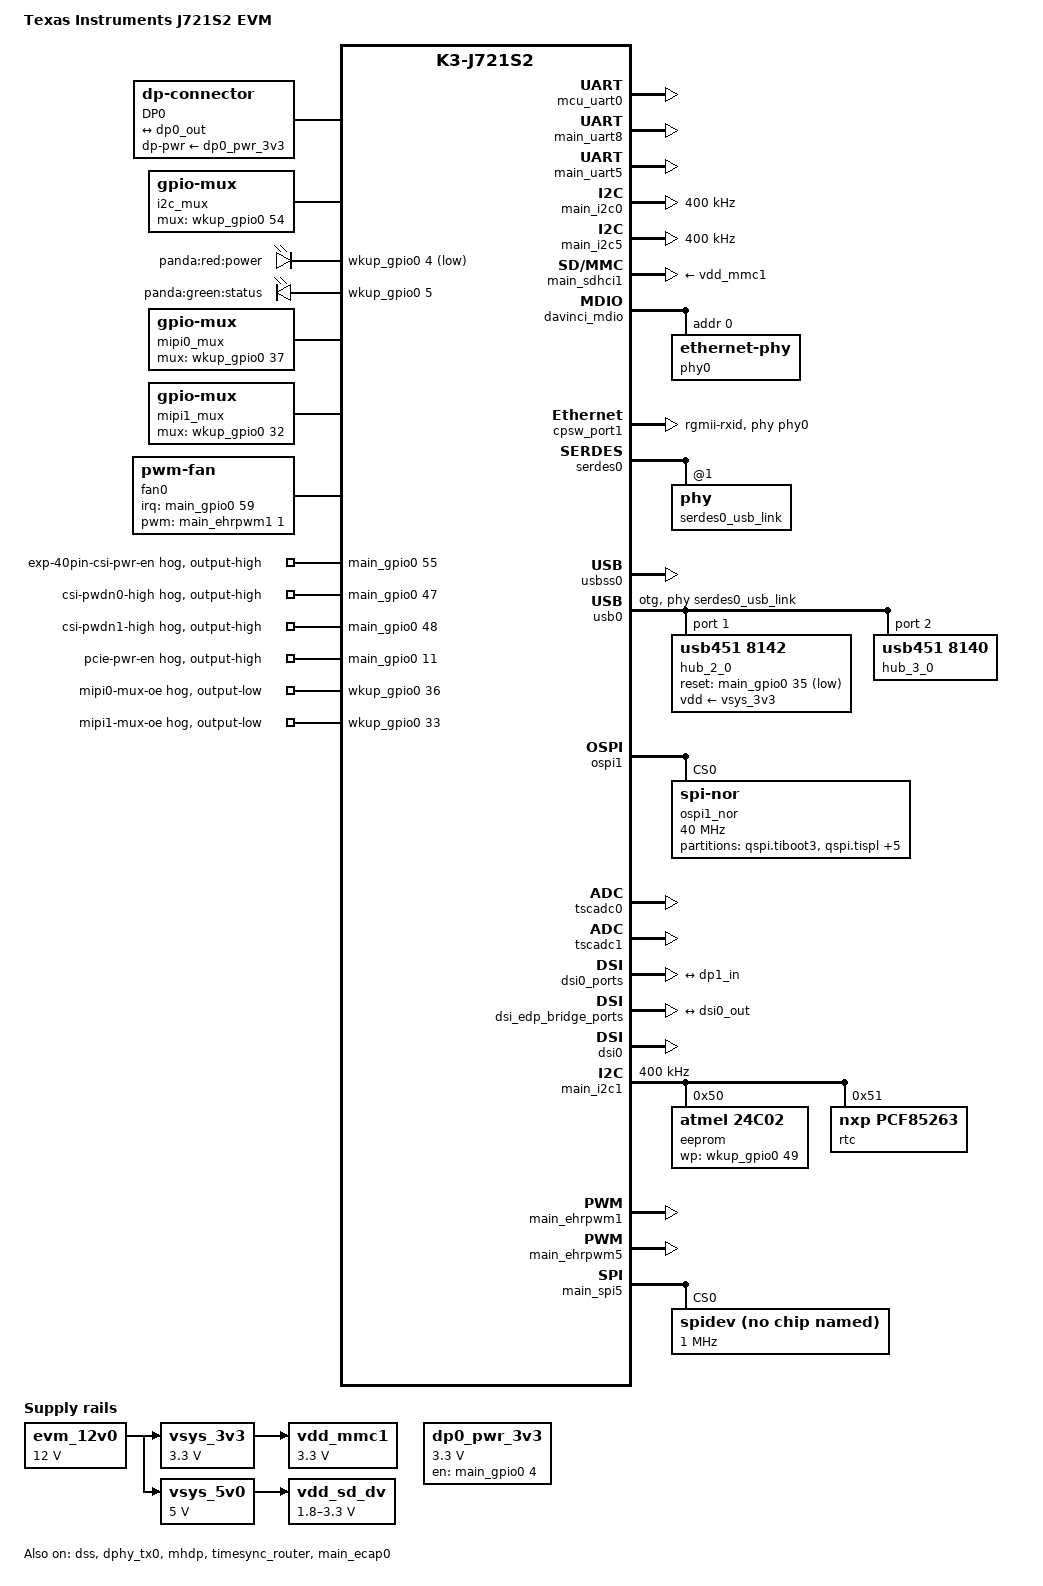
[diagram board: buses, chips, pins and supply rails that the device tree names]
// SPDX-License-Identifier: GPL-2.0-only OR MIT
/*
 * Copyright (C) 2021-2024 Texas Instruments Incorporated - https://www.ti.com/
 *
 * Common Processor Board: https://www.ti.com/tool/J721EXCPXEVM
 */

/dts-v1/;

#include "k3-j721s2-som-p0.dtsi"
#include <dt-bindings/net/ti-dp83867.h>
#include <dt-bindings/phy/phy-cadence.h>
#include <dt-bindings/phy/phy.h>

#include "k3-serdes.h"
#include "k3-timesync-router.h"
#include <dt-bindings/interrupt-controller/irq.h>

/ {
	compatible = "ti,j721s2-evm", "ti,j721s2";
	model = "Texas Instruments J721S2 EVM";

	chosen {
		stdout-path = "serial2:115200n8";
	};

	aliases {
		serial1 = &mcu_uart0;
		serial2 = &main_uart8;
		mmc0 = &main_sdhci0;
		mmc1 = &main_sdhci1;
		can0 = &main_mcan16;
		can1 = &mcu_mcan0;
		can2 = &mcu_mcan1;
		can3 = &main_mcan3;
		can4 = &main_mcan5;
	};

	evm_12v0: fixedregulator-evm12v0 {
		/* main supply */
		compatible = "regulator-fixed";
		regulator-name = "evm_12v0";
		regulator-min-microvolt = <12000000>;
		regulator-max-microvolt = <12000000>;
		regulator-always-on;
		regulator-boot-on;
	};

	vsys_3v3: fixedregulator-vsys3v3 {
		/* Output of LM5140 */
		compatible = "regulator-fixed";
		regulator-name = "vsys_3v3";
		regulator-min-microvolt = <3300000>;
		regulator-max-microvolt = <3300000>;
		vin-supply = <&evm_12v0>;
		regulator-always-on;
		regulator-boot-on;
	};

	vsys_5v0: fixedregulator-vsys5v0 {
		/* Output of LM5140 */
		compatible = "regulator-fixed";
		regulator-name = "vsys_5v0";
		regulator-min-microvolt = <5000000>;
		regulator-max-microvolt = <5000000>;
		vin-supply = <&evm_12v0>;
		regulator-always-on;
		regulator-boot-on;
	};

	vdd_mmc1: fixedregulator-sd {
		/* Output of TPS22918 */
		compatible = "regulator-fixed";
		regulator-name = "vdd_mmc1";
		regulator-min-microvolt = <3300000>;
		regulator-max-microvolt = <3300000>;
		regulator-boot-on;
		enable-active-high;
		vin-supply = <&vsys_3v3>;

#if 0 //wucl debug 
		gpio = <&exp2 2 GPIO_ACTIVE_HIGH>;
#endif
	};

	vdd_sd_dv: gpio-regulator-TLV71033 {
		/* Output of TLV71033 */
		compatible = "regulator-gpio";
		regulator-name = "tlv71033";
		pinctrl-names = "default";
		pinctrl-0 = <&vdd_sd_dv_pins_default>;
		regulator-min-microvolt = <1800000>;
		regulator-max-microvolt = <3300000>;
		regulator-boot-on;
		vin-supply = <&vsys_5v0>;
		gpios = <&main_gpio0 8 GPIO_ACTIVE_HIGH>;
		states = <1800000 0x0>,
			 <3300000 0x1>;
	};

#if 0 //wucl debug 
	dp1_pwr_3v3: regulator-dp1-prw {
		compatible = "regulator-fixed";
		regulator-name = "dp1-pwr";
		regulator-min-microvolt = <3300000>;
		regulator-max-microvolt = <3300000>;
		gpio = <&exp4 1 GPIO_ACTIVE_HIGH>; /* P1 - DP1_PWR_SW_EN */
		enable-active-high;
		regulator-always-on;
	};

	dp1: connector-dp1 {
		compatible = "dp-connector";
		label = "DP1";
		type = "full-size";
		dp-pwr-supply = <&dp1_pwr_3v3>;

		port {
			dp1_connector_in: endpoint {
				remote-endpoint = <&dp1_out>;
			};
		};
	};

	transceiver1: can-phy1 {
		compatible = "ti,tcan1043";
		#phy-cells = <0>;
		max-bitrate = <5000000>;
		pinctrl-names = "default";
		pinctrl-0 = <&mcu_mcan0_gpio_pins_default>;
		standby-gpios = <&wkup_gpio0 69 GPIO_ACTIVE_LOW>;
		enable-gpios = <&wkup_gpio0 0 GPIO_ACTIVE_HIGH>;
	};

	transceiver2: can-phy2 {
		compatible = "ti,tcan1042";
		#phy-cells = <0>;
		max-bitrate = <5000000>;
		pinctrl-names = "default";
		pinctrl-0 = <&mcu_mcan1_gpio_pins_default>;
		standby-gpios = <&wkup_gpio0 2 GPIO_ACTIVE_HIGH>;
	};

	transceiver3: can-phy3 {
		compatible = "ti,tcan1043";
		#phy-cells = <0>;
		max-bitrate = <5000000>;
		standby-gpios = <&exp2 7 GPIO_ACTIVE_LOW>;
		enable-gpios = <&exp2 6 GPIO_ACTIVE_HIGH>;
		mux-states = <&mux0 1>;
	};

	transceiver4: can-phy4 {
		compatible = "ti,tcan1042";
		#phy-cells = <0>;
		max-bitrate = <5000000>;
		standby-gpios = <&exp_som 7 GPIO_ACTIVE_HIGH>;
		mux-states = <&mux1 1>;
	};
#endif

	dp0_pwr_3v3: fixedregulator-dp0-prw {
		compatible = "regulator-fixed";
		regulator-name = "dp0-pwr";
		regulator-min-microvolt = <3300000>;
		regulator-max-microvolt = <3300000>;
#if 0 //wucl debug 
		gpio = <&exp4 0 0>;	/* P0 - DP0_PWR_SW_EN */
#else
		gpio = <&main_gpio0 4 GPIO_ACTIVE_HIGH>; /* (AF28) DP0_PWR_SW_EN */
#endif
		enable-active-high;
	};

	dp0: dp0-connector {
		compatible = "dp-connector";
		label = "DP0";
		type = "full-size";
		dp-pwr-supply = <&dp0_pwr_3v3>;

		port {
			dp0_connector_in: endpoint {
				remote-endpoint = <&dp0_out>;
			};
		};
	};


#if 0 //wucl debug
	codec_audio: sound {
		compatible = "ti,j7200-cpb-audio";
		model = "j721e-cpb";

		ti,cpb-mcasp = <&mcasp4>;
		ti,cpb-codec = <&pcm3168a_1>;

		clocks = <&k3_clks 213 0>, <&k3_clks 213 1>,
			 <&k3_clks 157 299>, <&k3_clks 157 328>;
		clock-names = "cpb-mcasp-auxclk", "cpb-mcasp-auxclk-48000",
			      "cpb-codec-scki", "cpb-codec-scki-48000";
	};
#endif

	i2c_mux: mux-controller-2 {
		compatible = "gpio-mux";
		#mux-state-cells = <1>;
		mux-gpios = <&wkup_gpio0 54 GPIO_ACTIVE_HIGH>;
		idle-state = <1>;
		pinctrl-names = "default";
		pinctrl-0 = <&main_i2c3_mux_pins_default>;
	};

	/*
	 * Camera MCLK reference for Sony IMX219 on J24/J25 FPC.
	 * Physical source: McASP4 ACLKX on AD28 (MREFC(K) net).
	 * AUX_CLK = 196.608 MHz, CLKXDIV = 7 → ACLKX = 24.576 MHz.
	 * (Board has no external 24 MHz oscillator; SoC generates MCLK via McASP4.)
	 */
	clk_imx219_fixed: imx219-xclk {
		compatible = "fixed-clock";
		#clock-cells = <0>;
		clock-frequency = <24000000>; /* was 24576000 for McASP4 MCLK; camera has internal crystal */
	};
};

&main_i2c4 {
#if 0 //wucl debug
	status = "okay";
	pinctrl-names = "default";
	pinctrl-0 = <&main_i2c4_pins_default>;
	clock-frequency = <400000>;

	exp4: gpio@20 {
		compatible = "ti,tca6408";
		reg = <0x20>;
		gpio-controller;
		#gpio-cells = <2>;
	};
#else
	status = "disabled"; //wucl debug
#endif
};

&main_pmx0 {
	main_uart8_pins_default: main-uart8-default-pins {
		pinctrl-single,pins = <
#if 0 //wucl debug
			J721S2_IOPAD(0x040, PIN_INPUT, 14) /* (AC28) MCASP0_AXR0.UART8_CTSn */
			J721S2_IOPAD(0x044, PIN_OUTPUT, 14) /* (Y26) MCASP0_AXR1.UART8_RTSn */
#endif
			J721S2_IOPAD(0x0d0, PIN_INPUT, 11) /* (AF26) SPI0_CS1.UART8_RXD */
			J721S2_IOPAD(0x0d4, PIN_OUTPUT, 11) /* (AH27) SPI0_CLK.UART8_TXD */
		>;
		bootph-all;
	};

        //wucl debug
    my_40pin_exp_uart_pins_default: my_40pin_exp_uart-default-pins {
        pinctrl-single,pins = <
            J721S2_IOPAD(0x008, PIN_INPUT, 11) /* (AC24) MCAN12_RX.UART5_RXD */
            J721S2_IOPAD(0x004, PIN_INPUT, 11) /* (W25) MCAN12_TX.UART5_TXD */
        >;
    };

    main_i2c1_pins_default: main-i2c1-pins-default {
        pinctrl-single,pins = <
            J721S2_IOPAD(0x0ac, PIN_INPUT, 13) /* (AC25) MCASP0_AXR15.I2C1_SCL */
            J721S2_IOPAD(0x0b0, PIN_INPUT, 13) /* (AD26) MCASP1_AXR3.I2C1_SDA */
        >;
    };

#if 0 //wucl debug
	main_i2c3_pins_default: main-i2c3-default-pins {
		pinctrl-single,pins = <
			J721S2_IOPAD(0x064, PIN_INPUT_PULLUP, 13) /* (W28) MCAN0_TX.I2C3_SCL */
			J721S2_IOPAD(0x060, PIN_INPUT_PULLUP, 13) /* (AC27) MCASP2_AXR1.I2C3_SDA */
		>;
	};
#endif

    usb_typec_uart1_pins_default: usb_typec_uart1-default-pins {
        pinctrl-single,pins = <
            J721S2_IOPAD(0x05c, PIN_INPUT, 11) /* (AA26) MCASP2_AXR0.UART1_CTSn */
            J721S2_IOPAD(0x060, PIN_INPUT, 11) /* (AC27) MCASP2_AXR1.UART1_RTSn */
            J721S2_IOPAD(0x054, PIN_INPUT, 11) /* (Y27) MCASP2_ACLKX.UART1_RXD */
            J721S2_IOPAD(0x058, PIN_INPUT, 11) /* (AA27) MCASP2_AFSX.UART1_TXD */
        >;
    };

	main_i2c5_pins_default: main-i2c5-default-pins {
		pinctrl-single,pins = <
			J721S2_IOPAD(0x01c, PIN_INPUT, 8) /* (Y24) MCAN15_TX.I2C5_SCL */
			J721S2_IOPAD(0x018, PIN_INPUT, 8) /* (W23) MCAN14_RX.I2C5_SDA */
		>;
	};

	main_mmc1_pins_default: main-mmc1-default-pins {
		pinctrl-single,pins = <
			J721S2_IOPAD(0x104, PIN_INPUT, 0) /* (P23) MMC1_CLK */
			J721S2_IOPAD(0x108, PIN_INPUT, 0) /* (N24) MMC1_CMD */
			J721S2_IOPAD(0x100, PIN_INPUT, 0) /* (###) MMC1_CLKLB */
			J721S2_IOPAD(0x0fc, PIN_INPUT, 0) /* (M23) MMC1_DAT0 */
			J721S2_IOPAD(0x0f8, PIN_INPUT, 0) /* (P24) MMC1_DAT1 */
			J721S2_IOPAD(0x0f4, PIN_INPUT, 0) /* (R24) MMC1_DAT2 */
			J721S2_IOPAD(0x0f0, PIN_INPUT, 0) /* (R22) MMC1_DAT3 */
			J721S2_IOPAD(0x0e8, PIN_INPUT, 8) /* (AE25) TIMER_IO0.MMC1_SDCD */
		>;
		bootph-all;
	};

	vdd_sd_dv_pins_default: vdd-sd-dv-default-pins {
		pinctrl-single,pins = <
			J721S2_IOPAD(0x020, PIN_INPUT, 7) /* (AA23) MCAN15_RX.GPIO0_8 */
		>;
	};

	//wucl debug
	pcie1_rst_pins_default: pcie1-rst-default-pins {
		pinctrl-single,pins = <
			J721S2_IOPAD(0x04c, PIN_OUTPUT, 7) /* (V27) MCASP1_AXR1.GPIO0_19 */
		>;
	};

//wucl debug
  main_gpio0_pins_default: main-gpio0-default-pins {
#if 0
      pinctrl-single,pins = <
          J721S2_IOPAD(0x010, PIN_OUTPUT, 7) /* (AF28) GPIO0_4 - DP0_PWR_SW_EN */
      >;
#endif
        pinctrl-single,pins = <
            J721S2_IOPAD(0x000, PIN_INPUT, 7) /* (AG24) EXTINTn.GPIO0_0 */
            J721S2_IOPAD(0x00c, PIN_INPUT, 7) /* (AE28) MCAN13_TX.GPIO0_3 */
            J721S2_IOPAD(0x010, PIN_OUTPUT, 7) /* (AF28) MCAN13_RX.GPIO0_4 */
            J721S2_IOPAD(0x014, PIN_OUTPUT, 7) /* (AD25) MCAN14_TX.GPIO0_5 */
            J721S2_IOPAD(0x024, PIN_INPUT, 7) /* (Y28) MCAN16_TX.GPIO0_9 */
            J721S2_IOPAD(0x028, PIN_INPUT, 7) /* (AB24) MCAN16_RX.GPIO0_10 */
            J721S2_IOPAD(0x02c, PIN_INPUT, 7) /* (V23) GPIO0_11 - PIN_INPUT for readback (output driven by gpio-hog) */
            J721S2_IOPAD(0x030, PIN_INPUT, 7) /* (T26) GPIO0_12 */
            J721S2_IOPAD(0x034, PIN_INPUT, 7) /* (AD24) PMIC_WAKE0n.GPIO0_13 */
            J721S2_IOPAD(0x048, PIN_INPUT, 7) /* (AB27) MCASP0_AXR2.GPIO0_18 */
            J721S2_IOPAD(0x04c, PIN_INPUT, 7) /* (V27) MCASP1_AXR1.GPIO0_19 - PIN_INPUT for readback (output driven by reset-gpios) */
            J721S2_IOPAD(0x050, PIN_INPUT, 7) /* (W27) MCASP1_AXR2.GPIO0_20 */
            J721S2_IOPAD(0x06c, PIN_INPUT, 7) /* (V26) MCAN1_TX.GPIO0_27 */
            J721S2_IOPAD(0x084, PIN_INPUT, 7) /* (AA28) MCASP0_AXR5.GPIO0_33 */
            J721S2_IOPAD(0x08c, PIN_OUTPUT, 7) /* (T25) MCASP0_AXR7.GPIO0_35 */
            J721S2_IOPAD(0x094, PIN_INPUT, 7) /* (AA25) MCASP0_AXR9.GPIO0_37 */
            J721S2_IOPAD(0x098, PIN_INPUT, 7) /* (V25) MCASP0_AXR10.GPIO0_38 */
            J721S2_IOPAD(0x0a0, PIN_INPUT, 7) /* (AB25) MCASP0_AXR12.GPIO0_40 */
            J721S2_IOPAD(0x0bc, PIN_INPUT, 7) /* (V28) MCASP1_AFSX.GPIO0_47 */
            J721S2_IOPAD(0x0c0, PIN_INPUT, 7) /* (T28) MCASP1_AXR0.GPIO0_48 */
            J721S2_IOPAD(0x0cc, PIN_INPUT, 7) /* (AE27) SPI0_CS0.GPIO0_51 */
            J721S2_IOPAD(0x0d8, PIN_OUTPUT, 7) /* (AG26) SPI0_D0.GPIO0_54 */
            J721S2_IOPAD(0x0dc, PIN_INPUT, 7) /* (AH26) SPI0_D1.GPIO0_55 */
        >;
  };

	main_usbss0_pins_default: main-usbss0-default-pins {
		pinctrl-single,pins = <
#if 0 //wucl debug
			J721S2_IOPAD(0x0ec, PIN_OUTPUT, 6) /* (AG25) TIMER_IO1.USB0_DRVVBUS */
#endif
		>;
		bootph-all;
	};

    fan_tach_pins_default: fan_tach-default-pins {
        pinctrl-single,pins = <
            J721S2_IOPAD(0x0ec, PIN_INPUT, 7) /* (AG25) GPIO0_59 - FAN TACH */
        >;
    };

    myehrpwm1_pins_default: myehrpwm1-default-pins {
        pinctrl-single,pins = <
            J721S2_IOPAD(0x074, PIN_OUTPUT, 9) /* (R28) MCAN2_TX.EHRPWM1_B */
        >;
    };

#if 0 //wucl debug
	main_mcan3_pins_default: main-mcan3-default-pins {
		pinctrl-single,pins = <
			J721S2_IOPAD(0x080, PIN_INPUT, 0) /* (U26) MCASP0_AXR4.MCAN3_RX */
			J721S2_IOPAD(0x07c, PIN_OUTPUT, 0) /* (T27) MCASP0_AXR3.MCAN3_TX */
		>;
	};
#else
    myehrpwm5_pins_default: myehrpwm5-default-pins {
        pinctrl-single,pins = <
            J721S2_IOPAD(0x080, PIN_INPUT, 9) /* (U26) MCASP0_AXR4.EHRPWM5_B */
        >;
    };

#endif

#if 0 //wucl debug
	main_mcan5_pins_default: main-mcan5-default-pins {
		pinctrl-single,pins = <
			J721S2_IOPAD(0x03c, PIN_INPUT, 0) /* (U27) MCASP0_AFSX.MCAN5_RX */
			J721S2_IOPAD(0x038, PIN_OUTPUT, 0) /* (AB28) MCASP0_ACLKX.MCAN5_TX */
		>;
	};
#endif

	/* MCASP0 pin assignments on 40-pin header: fixed by board routing */
	mcasp0_pins_default: mcasp0-default-pins {
		pinctrl-single,pins = <
			J721S2_IOPAD(0x038, PIN_OUTPUT, 1) /* (AB28) MCASP0_ACLKX → pin 12, BCLK */
			J721S2_IOPAD(0x03c, PIN_OUTPUT, 1) /* (U27)  MCASP0_AFSX  → pin 35, LRCLK */
			J721S2_IOPAD(0x040, PIN_INPUT,  1) /* (AC28) MCASP0_AXR0  → pin 38, DIN */
			J721S2_IOPAD(0x044, PIN_OUTPUT, 1) /* (Y26)  MCASP0_AXR1  → pin 40, DOUT */
		>;
	};

	main_i2c4_pins_default: main-i2c4-pins-default {
		pinctrl-single,pins = <
			J721S2_IOPAD(0x014, PIN_INPUT_PULLUP, 8) /* (AD25) I2C4_SCL */
#if 0 //wucl debug
			J721S2_IOPAD(0x010, PIN_INPUT_PULLUP, 8) /* (AF28) I2C4_SDA */
#endif
		>;
	};

	dp0_pins_default: dp0-pins-default {
		pinctrl-single,pins = <
			J721S2_IOPAD(0x0b8, PIN_INPUT, 3) /* (AA24) MCASP1_ACLKX.DP0_HPD */
		>;
	};

#if 0 //wucl 40pin GPIO
	mcasp4_pins_default: mcasp4-default-pins {
		pinctrl-single,pins = <
			J721S2_IOPAD(0x0c8, PIN_OUTPUT_PULLDOWN, 1) /* (AD28) MCASP4_ACLKX */
			J721S2_IOPAD(0x06c, PIN_OUTPUT_PULLDOWN, 1) /* (V26) MCASP4_AFSX */
			J721S2_IOPAD(0x068, PIN_INPUT_PULLDOWN, 1) /* (U28) MCASP4_AXR1 */
			J721S2_IOPAD(0x0c4, PIN_OUTPUT_PULLDOWN, 1) /* (AB26) MCASP4_AXR2 */
			J721S2_IOPAD(0x070, PIN_OUTPUT_PULLDOWN, 1) /* (R27) MCASP4_AXR3 */
		>;
	};
#else
    myecap1_pins_default: myecap1-default-pins {
        pinctrl-single,pins = <
            J721S2_IOPAD(0x0c4, PIN_OUTPUT, 0) /* (AB26) ECAP0_IN_APWM_OUT */
        >;
    };

    myspi1_pins_default: myspi1-default-pins {
        pinctrl-single,pins = <
            J721S2_IOPAD(0x07c, PIN_OUTPUT, 8) /* (T27) MCASP0_AXR3.SPI5_CLK */
            J721S2_IOPAD(0x068, PIN_OUTPUT, 8) /* (U28) MCAN0_RX.SPI5_CS0 */
            J721S2_IOPAD(0x064, PIN_OUTPUT, 8) /* (W28) MCAN0_TX.SPI5_CS1 */
            J721S2_IOPAD(0x070, PIN_INPUT, 8) /* (R27) MCAN1_RX.SPI5_D0 */
            J721S2_IOPAD(0x088, PIN_INPUT, 11) /* (AD27) MCASP0_AXR6.SPI5_D1 */
        >;
    };

	/* mcasp4_mclk_pins removed: camera has internal crystal; AD28 not needed as MCLK */
#endif
	audio_ext_refclk1_pins_default: audio-ext-refclk1-default-pins {
		pinctrl-single,pins = <
			J721S2_IOPAD(0x078, PIN_OUTPUT, 1) /* (Y25) MCAN2_RX.AUDIO_EXT_REFCLK1 */
		>;
	};
};

//wucl debug
&wkup_pmx3 {
    wkup3_gpio_pins_default: wkup3_gpio-default-pins {
        pinctrl-single,pins = <
            J721S2_WKUP_IOPAD(0x000, PIN_OUTPUT, 7) /* (K26) WKUP_GPIO0_49 */
        >;
    };

};

&wkup_pmx2 {
	wkup_uart0_pins_default: wkup-uart0-default-pins {
		pinctrl-single,pins = <
			J721S2_WKUP_IOPAD(0x048, PIN_INPUT, 0) /* (D28) WKUP_UART0_RXD */
			J721S2_WKUP_IOPAD(0x04c, PIN_OUTPUT, 0) /* (D27) WKUP_UART0_TXD */
		>;
		bootph-all;
	};

	mcu_uart0_pins_default: mcu-uart0-default-pins {
		pinctrl-single,pins = <
			J721S2_WKUP_IOPAD(0x090, PIN_INPUT, 0) /* (B24) WKUP_GPIO0_14.MCU_UART0_CTSn */
			J721S2_WKUP_IOPAD(0x094, PIN_OUTPUT, 0) /* (D25) WKUP_GPIO0_15.MCU_UART0_RTSn */
			J721S2_WKUP_IOPAD(0x08c, PIN_INPUT, 0) /* (C24) WKUP_GPIO0_13.MCU_UART0_RXD */
			J721S2_WKUP_IOPAD(0x088, PIN_OUTPUT, 0) /* (C25) WKUP_GPIO0_12.MCU_UART0_TXD */
		>;
		bootph-all;
	};

	mcu_cpsw_pins_default: mcu-cpsw-default-pins {
		pinctrl-single,pins = <
			J721S2_WKUP_IOPAD(0x02c, PIN_INPUT, 0) /* (B22) MCU_RGMII1_RD0 */
			J721S2_WKUP_IOPAD(0x028, PIN_INPUT, 0) /* (B21) MCU_RGMII1_RD1 */
			J721S2_WKUP_IOPAD(0x024, PIN_INPUT, 0) /* (C22) MCU_RGMII1_RD2 */
			J721S2_WKUP_IOPAD(0x020, PIN_INPUT, 0) /* (D23) MCU_RGMII1_RD3 */
			J721S2_WKUP_IOPAD(0x01c, PIN_INPUT, 0) /* (D22) MCU_RGMII1_RXC */
			J721S2_WKUP_IOPAD(0x004, PIN_INPUT, 0) /* (E23) MCU_RGMII1_RX_CTL */
			J721S2_WKUP_IOPAD(0x014, PIN_OUTPUT, 0) /* (F23) MCU_RGMII1_TD0 */
			J721S2_WKUP_IOPAD(0x010, PIN_OUTPUT, 0) /* (G22) MCU_RGMII1_TD1 */
			J721S2_WKUP_IOPAD(0x00c, PIN_OUTPUT, 0) /* (E21) MCU_RGMII1_TD2 */
			J721S2_WKUP_IOPAD(0x008, PIN_OUTPUT, 0) /* (E22) MCU_RGMII1_TD3 */
			J721S2_WKUP_IOPAD(0x018, PIN_OUTPUT, 0) /* (F21) MCU_RGMII1_TXC */
			J721S2_WKUP_IOPAD(0x000, PIN_OUTPUT, 0) /* (F22) MCU_RGMII1_TX_CTL */
		>;
	};

	mcu_mdio_pins_default: mcu-mdio-default-pins {
		pinctrl-single,pins = <
			J721S2_WKUP_IOPAD(0x034, PIN_OUTPUT, 0) /* (A21) MCU_MDIO0_MDC */
			J721S2_WKUP_IOPAD(0x030, PIN_INPUT, 0) /* (A22) MCU_MDIO0_MDIO */
		>;
	};

	mcu_mcan0_pins_default: mcu-mcan0-default-pins {
		pinctrl-single,pins = <
			J721S2_WKUP_IOPAD(0x054, PIN_INPUT, 0) /* (E28) MCU_MCAN0_RX */
			J721S2_WKUP_IOPAD(0x050, PIN_OUTPUT, 0) /* (E27) MCU_MCAN0_TX */
		>;
	};

	mcu_mcan1_pins_default: mcu-mcan1-default-pins {
		pinctrl-single,pins = <
			J721S2_WKUP_IOPAD(0x06c, PIN_INPUT, 0) /* (F26) WKUP_GPIO0_5.MCU_MCAN1_RX */
			J721S2_WKUP_IOPAD(0x068, PIN_OUTPUT, 0) /*(C23) WKUP_GPIO0_4.MCU_MCAN1_TX */
		>;
	};

	mcu_mcan0_gpio_pins_default: mcu-mcan0-gpio-default-pins {
		pinctrl-single,pins = <
			J721S2_WKUP_IOPAD(0x058, PIN_INPUT, 7) /* (D26) WKUP_GPIO0_0 */
			J721S2_WKUP_IOPAD(0x040, PIN_INPUT, 7) /* (B25) MCU_SPI0_D1.WKUP_GPIO0_69 */
		>;
	};

	mcu_mcan1_gpio_pins_default: mcu-mcan1-gpio-default-pins {
		pinctrl-single,pins = <
			J721S2_WKUP_IOPAD(0x060, PIN_INPUT, 7) /* (C28) WKUP_GPIO0_2 */
		>;
	};

	mcu_adc0_pins_default: mcu-adc0-default-pins {
		pinctrl-single,pins = <
			J721S2_WKUP_IOPAD(0x0cc, PIN_INPUT, 0) /* (L25) MCU_ADC0_AIN0 */
			J721S2_WKUP_IOPAD(0x0d0, PIN_INPUT, 0) /* (K25) MCU_ADC0_AIN1 */
			J721S2_WKUP_IOPAD(0x0d4, PIN_INPUT, 0) /* (M24) MCU_ADC0_AIN2 */
			J721S2_WKUP_IOPAD(0x0d8, PIN_INPUT, 0) /* (L24) MCU_ADC0_AIN3 */
			J721S2_WKUP_IOPAD(0x0dc, PIN_INPUT, 0) /* (L27) MCU_ADC0_AIN4 */
			J721S2_WKUP_IOPAD(0x0e0, PIN_INPUT, 0) /* (K24) MCU_ADC0_AIN5 */
			J721S2_WKUP_IOPAD(0x0e4, PIN_INPUT, 0) /* (M27) MCU_ADC0_AIN6 */
			J721S2_WKUP_IOPAD(0x0e8, PIN_INPUT, 0) /* (M26) MCU_ADC0_AIN7 */
		>;
	};

	mcu_adc1_pins_default: mcu-adc1-default-pins {
		pinctrl-single,pins = <
			J721S2_WKUP_IOPAD(0x0ec, PIN_INPUT, 0) /* (P25) MCU_ADC1_AIN0 */
			J721S2_WKUP_IOPAD(0x0f0, PIN_INPUT, 0) /* (R25) MCU_ADC1_AIN1 */
			J721S2_WKUP_IOPAD(0x0f4, PIN_INPUT, 0) /* (P28) MCU_ADC1_AIN2 */
			J721S2_WKUP_IOPAD(0x0f8, PIN_INPUT, 0) /* (P27) MCU_ADC1_AIN3 */
			J721S2_WKUP_IOPAD(0x0fc, PIN_INPUT, 0) /* (N25) MCU_ADC1_AIN4 */
			J721S2_WKUP_IOPAD(0x100, PIN_INPUT, 0) /* (P26) MCU_ADC1_AIN5 */
			J721S2_WKUP_IOPAD(0x104, PIN_INPUT, 0) /* (N26) MCU_ADC1_AIN6 */
			J721S2_WKUP_IOPAD(0x108, PIN_INPUT, 0) /* (N27) MCU_ADC1_AIN7 */
		>;
	};

	main_i2c3_mux_pins_default: main-i2c3-mux-default-pins {
		pinctrl-single,pins = <
			J721S2_WKUP_IOPAD(0x038, PIN_OUTPUT, 7) /* (B27) WKUP_GPIO0_54 */
		>;
	};

    // wucl debug
    rtc_i2c1_pins_default: rtc_i2c1-default-pins {
        pinctrl-single,pins = <
            J721S2_WKUP_IOPAD(0x070, PIN_INPUT, 3) /* (E25) WKUP_GPIO0_6.MCU_I2C1_SCL */
            J721S2_WKUP_IOPAD(0x074, PIN_INPUT, 3) /* (F28) WKUP_GPIO0_7.MCU_I2C1_SDA */
        >;
    };

    pmic_i2c0_pins_default: pmic_i2c0-default-pins {
        pinctrl-single,pins = <
            J721S2_WKUP_IOPAD(0x0a0, PIN_INPUT, 0) /* (G24) MCU_I2C0_SCL */
            J721S2_WKUP_IOPAD(0x0a4, PIN_INPUT, 0) /* (J25) MCU_I2C0_SDA */
        >;
    };


	wkup_gpio_pins_default: wkup_gpio_pins_default {
#if 0 // wucl debug
		pinctrl-single,pins = <
				J784S4_WKUP_IOPAD(0x0d8, PIN_INPUT, 7) /* (L37) WKUP_GPIO0_6 */
		>;
#else
        pinctrl-single,pins = <
            J721S2_WKUP_IOPAD(0x064, PIN_INPUT, 7) /* (C27) WKUP_GPIO0_3 */
            J721S2_WKUP_IOPAD(0x068, PIN_OUTPUT, 7) /* (C23) WKUP_GPIO0_4 - Red LED */
            J721S2_WKUP_IOPAD(0x06c, PIN_OUTPUT, 7) /* (F26) WKUP_GPIO0_5 - Green LED */
            J721S2_WKUP_IOPAD(0x07c, PIN_OUTPUT, 7) /* (H26) WKUP_GPIO0_9 */
            J721S2_WKUP_IOPAD(0x080, PIN_OUTPUT, 7) /* (F27) WKUP_GPIO0_10 */
            J721S2_WKUP_IOPAD(0x084, PIN_OUTPUT, 7) /* (F25) WKUP_GPIO0_11 */
            J721S2_WKUP_IOPAD(0x050, PIN_INPUT, 7) /* (E27) MCU_MCAN0_TX.WKUP_GPIO0_60 */
            J721S2_WKUP_IOPAD(0x054, PIN_INPUT, 7) /* (E28) MCU_MCAN0_RX.WKUP_GPIO0_61 */
            J721S2_WKUP_IOPAD(0x044, PIN_INPUT, 7) /* (B26) MCU_SPI0_CS0.WKUP_GPIO0_70 */
        >;
#endif
	};

	//wucl debug
    mywkup_system1_pins_default: mywkup_system1-default-pins {
        pinctrl-single,pins = <
            J721S2_WKUP_IOPAD(0x11c, PIN_INPUT, 1) /* (J27) WKUP_GPIO0_67.WKUP_LF_CLKIN */
            J721S2_WKUP_IOPAD(0x0b4, PIN_INPUT, 0) /* (A23) MCU_RESETSTATz */
            J721S2_WKUP_IOPAD(0x0b0, PIN_INPUT, 0) /* (A26) MCU_RESETz */
            J721S2_WKUP_IOPAD(0x0ac, PIN_INPUT, 0) /* (J23) MCU_SAFETY_ERRORn */
            J721S2_WKUP_IOPAD(0x0a8, PIN_INPUT, 0) /* (G26) PMIC_POWER_EN1 */
            J721S2_WKUP_IOPAD(0x110, PIN_INPUT, 0) /* (K23) PORz */
            J721S2_WKUP_IOPAD(0x10c, PIN_INPUT, 0) /* (A24) RESET_REQz */
        >;
    };
};

&wkup_pmx1 {
	mcu_fss0_ospi1_pins_default: mcu-fss0-ospi1-default-pins {
		pinctrl-single,pins = <
			J721S2_WKUP_IOPAD(0x008, PIN_OUTPUT, 0) /* (A19) MCU_OSPI1_CLK */
			J721S2_WKUP_IOPAD(0x024, PIN_OUTPUT, 0) /* (D20) MCU_OSPI1_CSn0 */
			J721S2_WKUP_IOPAD(0x014, PIN_INPUT, 0) /* (D21) MCU_OSPI1_D0 */
			J721S2_WKUP_IOPAD(0x018, PIN_INPUT, 0) /* (G20) MCU_OSPI1_D1 */
#if 0 //wucl debug
			J721S2_WKUP_IOPAD(0x01c, PIN_INPUT, 0) /* (C20) MCU_OSPI1_D2 */
			J721S2_WKUP_IOPAD(0x020, PIN_INPUT, 0) /* (A20) MCU_OSPI1_D3 */
			J721S2_WKUP_IOPAD(0x010, PIN_INPUT, 0) /* (B19) MCU_OSPI1_DQS */
			J721S2_WKUP_IOPAD(0x00c, PIN_INPUT, 0) /* (B20) MCU_OSPI1_LBCLKO */
#endif
		>;
		bootph-all;
	};

    // wucl debug
    wkup1_gpio_pins_default: wkup1_gpio-default-pins {
        pinctrl-single,pins = <
            J721S2_WKUP_IOPAD(0x00c, PIN_OUTPUT, 7) /* (B20) MCU_OSPI1_LBCLKO.WKUP_GPIO0_32 */
            J721S2_WKUP_IOPAD(0x010, PIN_OUTPUT, 7) /* (B19) MCU_OSPI1_DQS.WKUP_GPIO0_33 */
            J721S2_WKUP_IOPAD(0x01c, PIN_OUTPUT, 7) /* (C20) MCU_OSPI1_D2.WKUP_GPIO0_36 */
            J721S2_WKUP_IOPAD(0x020, PIN_OUTPUT, 7) /* (A20) MCU_OSPI1_D3.WKUP_GPIO0_37 */
        >;
    };

};

&main_gpio0 {
	status = "okay";
        //wucl debug
	pinctrl-names = "default";
	pinctrl-0 = <&main_gpio0_pins_default>;

	/*
	 * GPIO0_55 (AH26, SPI0_D1): Power supply enable for 40-pin expansion
	 * connector and CSI FPC camera connectors (J24/J25).
	 */
	exp-pwr-hog {
		gpio-hog;
		gpios = <55 GPIO_ACTIVE_HIGH>;
		output-high;
		line-name = "exp-40pin-csi-pwr-en";
	};

	/*
	 * GPIO0_47 (V28, CSI_PWDN0): XSHUTDOWN for J24 FPC camera (MIPI0/CSI0).
	 * HIGH = normal operation. Hogged here; do NOT use reset-gpios in overlay.
	 */
	csi-pwdn0-hog {
		gpio-hog;
		gpios = <47 GPIO_ACTIVE_HIGH>;
		output-high;
		line-name = "csi-pwdn0-high";
	};

	/*
	 * GPIO0_48 (T28, CSI_PWDN1): XSHUTDOWN for J25 FPC camera (MIPI1/CSI1).
	 * HIGH = normal operation.
	 */
	csi-pwdn1-hog {
		gpio-hog;
		gpios = <48 GPIO_ACTIVE_HIGH>;
		output-high;
		line-name = "csi-pwdn1-high";
	};

	/*
	 * GPIO0_11 (V23, MCAN14_TX): PCIe FPC power enable (PCIE_PWR_EN).
	 * HIGH = PCIe 3.3V enabled to FPC connector.
	 */
	pcie-pwr-hog {
		gpio-hog;
		gpios = <11 GPIO_ACTIVE_HIGH>;
		output-high;
		line-name = "pcie-pwr-en";
	};
};

&wkup_gpio0 {
	status = "okay";
	pinctrl-names = "default";
	pinctrl-0 = <&wkup1_gpio_pins_default>;

	/* U3 /OE (WKUP_GPIO0_36): drive LOW to enable MIPI0 mux (TMUX6462ECR)
	 * ACTIVE_HIGH + output-low = logical 0, no polarity inversion = physical LOW.
	 * (ACTIVE_LOW + output-low would give physical HIGH = mux disabled!) */
	mipi0-mux-oe-hog {
		gpio-hog;
		gpios = <36 GPIO_ACTIVE_HIGH>;
		output-low;
		line-name = "mipi0-mux-oe";
	};

	/* U16 /OE (WKUP_GPIO0_33): drive LOW to enable MIPI1 mux (TMUX6462ECR) */
	mipi1-mux-oe-hog {
		gpio-hog;
		gpios = <33 GPIO_ACTIVE_HIGH>;
		output-low;
		line-name = "mipi1-mux-oe";
	};
};

&wkup_uart0 {
	status = "reserved";
	pinctrl-names = "default";
	pinctrl-0 = <&wkup_uart0_pins_default>;
	bootph-all;
};

&mcu_uart0 {
	status = "okay";
	pinctrl-names = "default";
	pinctrl-0 = <&mcu_uart0_pins_default>;
	bootph-all;
};

&main_uart8 {
	status = "okay";
	pinctrl-names = "default";
	pinctrl-0 = <&main_uart8_pins_default>;
	/* Shared with TFA on this platform */
	power-domains = <&k3_pds 357 TI_SCI_PD_SHARED>;
	bootph-all;
};

/* 40-pin header UART5: pin 8 (W25/TXD), pin 10 (AC24/RXD) */
&main_uart5 {
	status = "okay";
	pinctrl-names = "default";
	pinctrl-0 = <&my_40pin_exp_uart_pins_default>;
};

&main_i2c0 {
	clock-frequency = <400000>;


#if 0 //wucl debug
	exp1: gpio@20 {
		compatible = "ti,tca6416";
		reg = <0x20>;
		gpio-controller;
		#gpio-cells = <2>;
		gpio-line-names = "PCIE_2L_MODE_SEL", "PCIE_2L_PERSTZ", "PCIE_2L_RC_RSTZ",
				  "PCIE_2L_EP_RST_EN", "PCIE_1L_MODE_SEL", "PCIE_1L_PERSTZ",
				  "PCIE_1L_RC_RSTZ", "PCIE_1L_EP_RST_EN", "PCIE_2L_PRSNT#",
				  "PCIE_1L_PRSNT#", "CDCI1_OE1/OE4", "CDCI1_OE2/OE3", "EXP_MUX1",
				  "EXP_MUX2", "EXP_MUX3", "GESI_EXP_PHY_RSTz";
	};

	exp2: gpio@22 {
		compatible = "ti,tca6424";
		reg = <0x22>;
		gpio-controller;
		#gpio-cells = <2>;
		gpio-line-names = "APPLE_AUTH_RSTZ", "MLB_RSTZ", "GPIO_USD_PWR_EN", "USBC_PWR_EN",
				  "USBC_MODE_SEL1", "USBC_MODE_SEL0", "MCAN0_EN", "MCAN0_STB#",
				  "MUX_SPAREMUX_SPARE", "MCASP/TRACE_MUX_S0", "MCASP/TRACE_MUX_S1",
				  "MLB_MUX_SEL", "MCAN_MUX_SEL", "MCASP2/SPI3_MUX_SEL", "PCIe_CLKREQn_MUX_SEL",
				  "CDCI2_RSTZ", "ENET_EXP_PWRDN", "ENET_EXP_RESETZ", "ENET_I2CMUX_SEL",
				  "ENET_EXP_SPARE2", "M2PCIE_RTSZ", "USER_INPUT1", "USER_LED1", "USER_LED2";

		p09-hog {
			/* P09 - MCASP/TRACE_MUX_S0 */
			gpio-hog;
			gpios = <9 GPIO_ACTIVE_HIGH>;
			output-low;
			line-name = "MCASP/TRACE_MUX_S0";
		};

		p10-hog {
			/* P10 - MCASP/TRACE_MUX_S1 */
			gpio-hog;
			gpios = <10 GPIO_ACTIVE_HIGH>;
			output-high;
			line-name = "MCASP/TRACE_MUX_S1";
		};
	};
#endif
};

&main_i2c5 {
	pinctrl-names = "default";
	pinctrl-0 = <&main_i2c5_pins_default>;
	clock-frequency = <400000>;
	status = "okay";

#if 0 //wucl debug
	exp5: gpio@20 {
		compatible = "ti,tca6408";
		reg = <0x20>;
		gpio-controller;
		#gpio-cells = <2>;
		gpio-line-names = "CSI2_EXP_RSTZ", "CSI2_EXP_A_GPIO0",
				  "CSI2_EXP_A_GPIO1", "CSI2_EXP_A_GPIO2",
				  "CSI2_EXP_B_GPIO1", "CSI2_EXP_B_GPIO2",
				  "CSI2_EXP_B_GPIO3", "CSI2_EXP_B_GPIO4";
	};
#endif
};

/ {
	/* Board LEDs: Red=POWER (WKUP_GPIO0_4/C23), Green=STATUS (WKUP_GPIO0_5/F26)
	 * Red: PNP transistor driver (active-low): GPIO LOW → LED ON, GPIO HIGH → LED OFF
	 * Green: NPN transistor driver (active-high): GPIO HIGH → LED ON, GPIO LOW → LED OFF
	 * Pinmux: wkup_gpio_pins_default applies mux=7 (GPIO) to both pads */
	leds {
		compatible = "gpio-leds";
		pinctrl-names = "default";
		pinctrl-0 = <&wkup_gpio_pins_default>;

		led-red {
			label = "panda:red:power";
			gpios = <&wkup_gpio0 4 GPIO_ACTIVE_LOW>;
			default-state = "on";
		};

		led-green {
			label = "panda:green:status";
			gpios = <&wkup_gpio0 5 GPIO_ACTIVE_HIGH>;
			default-state = "off";
		};
	};
};

/ {
	/* MIPI0 mux: U3 TMUX6462ECR — J24 FPC
	 * SEL=LOW(0)→DSI0(default), SEL=HIGH(1)→CSI0(camera) */
	mipi0_mux: mux-controller-mipi0 {
		compatible = "gpio-mux";
		#mux-state-cells = <1>;
		mux-gpios = <&wkup_gpio0 37 GPIO_ACTIVE_HIGH>; /* SEL: 0=DSI0, 1=CSI0 */
		idle-state = <0>; /* Default: DSI0 (SEL low) */
	};

	/* MIPI1 mux: U16 TMUX6462ECR — J25 FPC
	 * SEL=LOW(0)→DSI1(default), SEL=HIGH(1)→CSI1(camera) */
	mipi1_mux: mux-controller-mipi1 {
		compatible = "gpio-mux";
		#mux-state-cells = <1>;
		mux-gpios = <&wkup_gpio0 32 GPIO_ACTIVE_HIGH>; /* SEL: 0=DSI1, 1=CSI1 */
		idle-state = <0>; /* Default: DSI1 (SEL low) */
	};
};

&main_sdhci0 {
	/* eMMC */
	status = "disabled"; //wucl debug
	non-removable;
	bootph-all;
	ti,driver-strength-ohm = <50>;
	disable-wp;
};

&main_sdhci1 {
	/* SD card */
	status = "okay";
	pinctrl-0 = <&main_mmc1_pins_default>;
	pinctrl-names = "default";
	disable-wp;
	vmmc-supply = <&vdd_mmc1>;
	vqmmc-supply = <&vdd_sd_dv>;
	bootph-all;
};

&mcu_cpsw {
	pinctrl-names = "default";
	pinctrl-0 = <&mcu_cpsw_pins_default>, <&mcu_mdio_pins_default>;

	cpts@3d000 {
		/* Map HW4_TS_PUSH to GENF1 */
		ti,pps = <3 1>;
	};
};

&davinci_mdio {
	phy0: ethernet-phy@0 {
		reg = <0>;
		ti,rx-internal-delay = <DP83867_RGMIIDCTL_2_00_NS>;
		ti,fifo-depth = <DP83867_PHYCR_FIFO_DEPTH_4_B_NIB>;
		ti,min-output-impedance;
	};
};

&cpsw_port1 {
	phy-mode = "rgmii-rxid";
	phy-handle = <&phy0>;
};

&serdes_ln_ctrl {
	idle-states = <J721S2_SERDES0_LANE0_PCIE1_LANE0>, <J721S2_SERDES0_LANE1_USB>,
		      <J721S2_SERDES0_LANE2_EDP_LANE2>, <J721S2_SERDES0_LANE3_EDP_LANE3>;
};

&serdes_refclk {
	clock-frequency = <100000000>;
};

&serdes0 {
	status = "okay";
	#address-cells = <1>;
	#size-cells = <0>;

	serdes0_pcie_link: phy@0 {
		reg = <0>;
		cdns,num-lanes = <1>;
		#phy-cells = <0>;
		cdns,phy-type = <PHY_TYPE_PCIE>;
		resets = <&serdes_wiz0 1>;
		status = "disabled";
	};

	/* [Panda AI 1 MAX 2026-06-22] B 配置默认:USB SS 走 SerDes lane 1.
	 * overlay mo68a-disable-usbss-for-pcie.dtbo 会 disable 这个 PHY 切到 A 配置. */
	serdes0_usb_link: phy@1 {
		reg = <1>;
		cdns,num-lanes = <1>;
		#phy-cells = <0>;
		cdns,phy-type = <PHY_TYPE_USB3>;
		resets = <&serdes_wiz0 2>;
	};
};

&usb_serdes_mux {
	idle-states = <1>; /* USB0 to SERDES lane 1 */
};

&edp_serdes_mux {
	idle-states = <1>; /* EDP0 to SERDES lane 2/3 */
};

&usbss0 {
	status = "okay";
#if 0 //wucl debug
	pinctrl-0 = <&main_usbss0_pins_default>;
	pinctrl-names = "default";
#endif
	bootph-all;
	ti,vbus-divider;
#if 0 /* [Panda AI 1 MAX 2026-06-22 wucl]:
       * U-Boot fdt_overlay_apply 不支持 /delete-property/,导致 usb3.dtbo 加载时
       * 这个属性删不掉,驱动看到它就不初始化 SS PHY。改为在 base DTS 直接去掉,
       * 让驱动按 SerDes PHY 可用性自动决定 speed:
       *   - A 配置(无 usb3.dtbo): SerDes 无 phy@1 → 驱动找不到 SS PHY → 自动降级 HS
       *   - B 配置(加 usb3.dtbo): SerDes 有 phy@1 USB3 → 驱动用 SS PHY → 启动 SS
       */
	ti,usb2-only;
#endif
};

&usb0 {
	dr_mode = "otg";
	/* [Panda AI 1 MAX 2026-06-22] B 配置默认 USB SS;
	 * mo68a-disable-usbss-for-pcie.dtbo 覆盖为 high-speed. */
	maximum-speed = "super-speed";
	phys = <&serdes0_usb_link>;
	phy-names = "cdns3,usb3-phy";
	bootph-all;

	/* [Panda AI 1 MAX 2026-05-25 wucl] TUSB8041 USB 3.0 hub dual-link binding.
	 * Hub child nodes must be under USB host controller (usb@6000000 / &usb0)
	 * so they're addressed by USB port number, not under cdns-usb wrapper
	 * (which uses SoC bus addressing and breaks #address-cells).
	 * Required so onboard-usb-dev driver attaches + controls HUB_RST. */
	#address-cells = <1>;
	#size-cells = <0>;

	hub_2_0: hub@1 {
		compatible = "usb451,8142";	/* TUSB8041 USB 2.0 HS */
		reg = <1>;
		peer-hub = <&hub_3_0>;
		reset-gpios = <&main_gpio0 35 GPIO_ACTIVE_LOW>;
		vdd-supply = <&vsys_3v3>;	/* TUSB8041 VDD33; silences "supply vdd not found" */
	};
	hub_3_0: hub@2 {
		compatible = "usb451,8140";	/* TUSB8041 USB 3.0 SS */
		reg = <2>;
		peer-hub = <&hub_2_0>;
		/* No reset-gpios: GPIO owned by peer hub_2_0 (avoid -EBUSY) */
	};
};

&ospi1 {
	status = "okay";
	pinctrl-names = "default";
	pinctrl-0 = <&mcu_fss0_ospi1_pins_default>;

	ospi1_nor: flash@0 {
		compatible = "jedec,spi-nor";
		reg = <0x0>;
		spi-tx-bus-width = <1>;
		spi-rx-bus-width = <4>;
		spi-max-frequency = <40000000>;
		bootph-all;
		cdns,tshsl-ns = <60>;
		cdns,tsd2d-ns = <60>;
		cdns,tchsh-ns = <60>;
		cdns,tslch-ns = <60>;
		cdns,read-delay = <2>;

		partitions {
			compatible = "fixed-partitions";
			#address-cells = <1>;
			#size-cells = <1>;

			partition@0 {
				label = "qspi.tiboot3";
				reg = <0x0 0x80000>;
			};

			partition@80000 {
				label = "qspi.tispl";
				reg = <0x80000 0x200000>;
			};

			partition@280000 {
				label = "qspi.u-boot";
				reg = <0x280000 0x400000>;
			};

			partition@680000 {
				label = "qspi.env";
				reg = <0x680000 0x40000>;
			};

			partition@6c0000 {
				label = "qspi.env.backup";
				reg = <0x6c0000 0x40000>;
			};

			partition@800000 {
				label = "qspi.rootfs";
				reg = <0x800000 0x37c0000>;
			};

			partition@3fc0000 {
				label = "qspi.phypattern";
				reg = <0x3fc0000 0x40000>;
			};
		};
	};
};

&pcie1_rc {
	/* [Panda AI 1 MAX 2026-06-22] B 配置默认:PCIe 关闭(SerDes lane 0 让给 USB SS).
	 * overlay mo68a-disable-{usbss,edp}-for-pcie.dtbo 会 enable 切到 A/C 配置. */
	status = "disabled";
#if 0 //wucl debug
	reset-gpios = <&exp1 2 GPIO_ACTIVE_HIGH>;
#else
	reset-gpios = <&main_gpio0 19 GPIO_ACTIVE_HIGH>;
#endif
	phys = <&serdes0_pcie_link>;
	phy-names = "pcie-phy";
	num-lanes = <1>;
	/*
	 * wucl: SERDES0_REFCLK_P/N routes to M.2 CLK+/CLK- (schematic p7).
	 * NVMe SSD needs this REFCLK to lock its PLL before PERST# deassert.
	 * phy-cadence-torrent.c is patched to skip PHY_PIPE_CMN_CTRL1[0]=1
	 * when already_configured=1 (firmware multilink: PCIe+USB3+eDP on SERDES0).
	 */
	clocks = <&k3_clks 276 41>, <&serdes0 CDNS_TORRENT_REFCLK_DRIVER>;
	clock-names = "fck", "pcie_refclk";
	/*
	 * Enable 100 MHz differential refclk output on PCIE_REFCLK1_P/N_OUT
	 * (balls AH11/AH10) for the M.2 NVMe SSD.
	 *
	 * ACSPCIE0_CTRL (0x118090): clear PWRDN0+PWRDN1 (mask=0x3) to enable
	 * the PAD output buffer. Default state is 0x3 (both buffers disabled).
	 *
	 * Errata i2308 future-proof: write both PCIE_REFCLK1_CLKSEL (0x108074)
	 * and PCIE_REFCLK3_CLKSEL (0x10807c) with CLK_SEL=1 (MAIN_PLL2).
	 * MAIN_PLL2 confirmed working via U-Boot oscilloscope measurement.
	 * Errata i2326: do not use SERDES0_REFCLK_P/N (AH4/AH5) as clock output.
	 */
	ti,syscon-acspcie-proxy-ctrl = <&acspcie_proxy_ctrl 0x3>;
	ti,syscon-pcie-refclk-clksel = <&pcie_refclk1_clksel 0x1>,
				       <&pcie_refclk3_clksel 0x1>;
};

#if 0 //wucl debug 
&mcu_mcan0 {
	status = "okay";
	pinctrl-names = "default";
	pinctrl-0 = <&mcu_mcan0_pins_default>;
	phys = <&transceiver1>;
};

&mcu_mcan1 {
	status = "okay";
	pinctrl-names = "default";
	pinctrl-0 = <&mcu_mcan1_pins_default>;
	phys = <&transceiver2>;
};
#endif

&tscadc0 {
	pinctrl-0 = <&mcu_adc0_pins_default>;
	pinctrl-names = "default";
	status = "okay";
	adc {
		ti,adc-channels = <0 1 2 3 4 5 6 7>;
	};
};

&tscadc1 {
	pinctrl-0 = <&mcu_adc1_pins_default>;
	pinctrl-names = "default";
	status = "okay";
	adc {
		ti,adc-channels = <0 1 2 3 4 5 6 7>;
	};
};

#if 0 //wucl debug 
&main_mcan3 {
	status = "okay";
	pinctrl-names = "default";
	pinctrl-0 = <&main_mcan3_pins_default>;
	phys = <&transceiver3>;
};

&main_mcan5 {
	status = "okay";
	pinctrl-names = "default";
	pinctrl-0 = <&main_mcan5_pins_default>;
	phys = <&transceiver4>;
};
#endif

&dss {
	/*
	 * DSS on J721S2-EVM supports DP on VP0 and DSI on VP2.
	 * These clock assignments are chosen to enable the following outputs:
	 * VP0 - DisplayPort SST
	 * VP2 - DSI
	 */
	status = "okay";
	assigned-clocks = <&k3_clks 158 2>,
			  <&k3_clks 158 14>;
	assigned-clock-parents = <&k3_clks 158 3>,
				 <&k3_clks 158 16>;
};

&dss_ports {
	#address-cells = <1>;
	#size-cells = <0>;

	port@0 {
		reg = <0>;
		dpi0_out: endpoint {
			remote-endpoint = <&dp0_in>;
		};
	};

	port@2 {
		status = "disabled"; //wucl debug 
		reg = <2>;
		dpi2_out: endpoint {
#if 0 //wucl debug
			remote-endpoint = <&dsi0_in>;
#endif
		};
	};
};

&dsi0_ports {
	port@0 {
		reg = <0>;
		dsi0_out: endpoint {
			remote-endpoint = <&dp1_in>;
		};
	};

	port@1 {
		reg = <1>;
		dsi0_in: endpoint {
#if 0 //wucl debug
			remote-endpoint = <&dpi2_out>;
#endif
		};
	};
};

&dsi_edp_bridge_ports {
	port@0 {
		reg = <0>;
		dp1_in: endpoint {
			remote-endpoint = <&dsi0_out>;
		};
	};

#if 0 //wucl debug
	port@1 {
		reg = <1>;
		dp1_out: endpoint {
			remote-endpoint = <&dp1_connector_in>;
		};
	};
#endif
};

&dphy_tx0 {
	status = "okay";
};

&dsi0 {
	status = "okay";
};

&mhdp {
	status = "okay";
	pinctrl-names = "default";
	pinctrl-0 = <&dp0_pins_default>;
	cdns,no-hpd;
};

&dp0_ports {
	#address-cells = <1>;
	#size-cells = <0>;

	port@0 {
		reg = <0>;
		dp0_in: endpoint {
			remote-endpoint = <&dpi0_out>;
		};
	};

	port@4 {
		reg = <4>;
		dp0_out: endpoint {
			remote-endpoint = <&dp0_connector_in>;
		};
	};
};

#if 0 //wucl debug 
&mux0 {
	idle-state = <0>;
};

&mux1 {
	idle-state = <0>;
};
#endif

#if 0 //wucl debug 
&exp_som {
	p03-hog {
		/* P03 - CANUART_MUX_SEL1 */
		gpio-hog;
		gpios = <3 GPIO_ACTIVE_HIGH>;
		output-high;
		line-name = "CANUART_MUX_SEL1";
	};
};
#endif

&k3_clks {
	/* Confiure AUDIO_EXT_REFCLK1 pin as output */
	pinctrl-names = "default";
	pinctrl-0 = <&audio_ext_refclk1_pins_default>;
};

//wucl debug: add I2C1 for eeprom
&main_i2c1 {
	status = "okay";
	pinctrl-names = "default";
	pinctrl-0 = <&main_i2c1_pins_default>;
	clock-frequency = <400000>;

      eeprom@50 {
	compatible = "atmel,24c02";
	reg = <0x50>;
	pagesize = <8>;
	wp-gpios = <&wkup_gpio0 49 GPIO_ACTIVE_HIGH>;
	pinctrl-0 = <&wkup3_gpio_pins_default>;
	pinctrl-names = "default";
      };

      /* PCF85263 connected to main_i2c1, accessible from Linux. Earlier
       * hardware revisions log 3 lines of i2c probe errors at boot — harmless;
       * functionality is unaffected (TPS6594 PMIC provides a usable RTC anyway). */
      rtc@51 {
	compatible = "nxp,pcf85263";
	reg = <0x51>;
	status = "okay";
      };
};

&main_i2c3 {
#if 0 //wucl debug
	status = "okay";
	pinctrl-names = "default";
	pinctrl-0 = <&main_i2c3_pins_default>;
#else
	status = "disabled"; //wucl debug
#endif
	clock-frequency = <400000>;
	mux-states = <&i2c_mux 1>;

	exp3: gpio@20 {
		compatible = "ti,tca6408";
		reg = <0x20>;
		gpio-controller;
		#gpio-cells = <2>;
	};

	pcm3168a_1: audio-codec@44 {
		compatible = "ti,pcm3168a";
		reg = <0x44>;
		#sound-dai-cells = <1>;
		reset-gpios = <&exp3 0 GPIO_ACTIVE_LOW>;
		/* C_AUDIO_REFCLK1 -> MCAN2_RX (Y25) */
		clocks = <&audio_refclk1>;
		clock-names = "scki";
		VDD1-supply = <&vsys_3v3>;
		VDD2-supply = <&vsys_3v3>;
		VCCAD1-supply = <&vsys_5v0>;
		VCCAD2-supply = <&vsys_5v0>;
		VCCDA1-supply = <&vsys_5v0>;
		VCCDA2-supply = <&vsys_5v0>;
	};
};


#if 0 //wucl debug: mcasp4 on EVM connects to PCM3168A codec (see PROC118E4 page4)
	/* On Panda AI 1 MAX: no codec connected to mcasp4; DP audio driver is TODO */
&mcasp4 {
	status = "okay";
	#sound-dai-cells = <0>;
	pinctrl-names = "default";
	pinctrl-0 = <&mcasp4_pins_default>;
	op-mode = <0>;          /* MCASP_IIS_MODE */
	tdm-slots = <2>;
	auxclk-fs-ratio = <256>;
	serial-dir = <	/* 0: INACTIVE, 1: TX, 2: RX */
		0 2 1 1
		0 0 0 0
		0 0 0 0
		0 0 0 0
	>;
};
#else
/* McASP4 MCLK approach reverted: camera has internal crystal oscillator.
 * AD28 (MREFC(K) net) is floating on camera side; no MCLK generation needed.
 * (was: &mcasp4 with pinctrl-0 = <&mcasp4_mclk_pins>, status = "okay")
 */
&mcasp4 {
	status = "disabled";
};
#endif

&timesync_router {
       /* Use Time Sync Router to map GENF1 input to HW4_TS_PUSH output */
	mux-reg-masks-state = <
		/* pps [mcu cpsw cpts genf1] in17 -> out25 [mcu cpsw cpts hw4_push] */
		K3_TS_OFFSET(25, 0x0001ffff, 17)
		>;
	status = "okay";
};

/* ── Fan Control (Method C: pwm-fan driver + GPIO TACH interrupt) ─────────── */

/* Enable EHRPWM1, bind PWM pin (EHRPWM1_B, pad 0x074 R28, mux=9) */
&main_ehrpwm1 {
	status = "okay";
	pinctrl-names = "default";
	pinctrl-0 = <&myehrpwm1_pins_default>;
};

/* 40-pin header PWM5_B: pin 33 (U26) */
&main_ehrpwm5 {
	status = "okay";
	pinctrl-names = "default";
	pinctrl-0 = <&myehrpwm5_pins_default>;
};

/ {
	/*
	 * PWM fan: EHRPWM1_B → 25 kHz PWM control
	 * TACH: AG25/GPIO0_59 (pad 0x0ec, mux=7) via falling-edge interrupt
	 * Cooling levels: 20% 40% 60% 80% 100% — non-zero minimum ensures PWM
	 * signal present at idle (cooling state 0, temp < fan_trip0).
	 */
	fan0: pwm-fan {
		compatible = "pwm-fan";
		pwms = <&main_ehrpwm1 1 40000 0>; /* channel B, 40µs period = 25kHz */
		#cooling-cells = <2>;
		cooling-levels = <51 102 153 204 255>;
		interrupts-extended = <&main_gpio0 59 IRQ_TYPE_EDGE_FALLING>;
		pulses-per-revolution = <2>;
		pinctrl-names = "default";
		pinctrl-0 = <&fan_tach_pins_default>;
	};
};

/*
 * Add passive trip points and fan cooling-maps to main0_thermal (VTM sensor 2).
 * Current idle temp ~54°C; fan starts at 60°C and scales to full at 80°C.
 */
&main0_thermal {
	trips {
		fan_trip0: fan-trip0 {
			temperature = <60000>;  /* 60°C */
			hysteresis = <5000>;
			type = "passive";
		};
		fan_trip1: fan-trip1 {
			temperature = <70000>;  /* 70°C */
			hysteresis = <5000>;
			type = "passive";
		};
		fan_trip2: fan-trip2 {
			temperature = <80000>;  /* 80°C */
			hysteresis = <5000>;
			type = "passive";
		};
	};
	cooling-maps {
		map0 { trip = <&fan_trip0>; cooling-device = <&fan0 1 2>; };
		map1 { trip = <&fan_trip1>; cooling-device = <&fan0 2 3>; };
		map2 { trip = <&fan_trip2>; cooling-device = <&fan0 3 4>; };
	};
};

/* J11 40-pin header pin 32 (AB26): ECAP0 APWM output */
&main_ecap0 {
	status = "okay";
	pinctrl-names = "default";
	pinctrl-0 = <&myecap1_pins_default>;
};

/* J11 40-pin header: SPI5 (pin 19=MOSI, 21=MISO, 23=CLK, 24=CS0, 26=CS1) */
&main_spi5 {
	status = "okay";
	pinctrl-names = "default";
	pinctrl-0 = <&myspi1_pins_default>;
	num-cs = <2>;
	spidev@0 {
		compatible = "rohm,dh2228fv";
		reg = <0>;
		spi-max-frequency = <1000000>;
	};
};

/* [Panda AI 1 MAX] Main-domain remoteproc — 全部 disable。
 * 理由：
 *   1. 不加载 vision-apps.dtbo 时，carveout 仍是 SoC 默认 15MB；
 *      若核心处于 "okay" 状态，内核会尝试加载 Vision Apps 固件（31MB
 *      布局），rproc_handle_resources() 访问未映射地址 → Oops/bad-phdr。
 *   2. 这些核心仅在 Vision Apps 场景下按需启用（通过 vision-apps.dtbo
 *      的 overlay 重新设为 "okay"）。
 * 所有四个节点均由 vision-apps.dtso 对称地重新设为 "okay"。 */
&main_r5fss0 { status = "disabled"; };
&main_r5fss1 { status = "disabled"; };
&c71_0 { status = "disabled"; };
&c71_1 { status = "disabled"; };
/* [Panda AI 1 MAX] 修改结束 */
